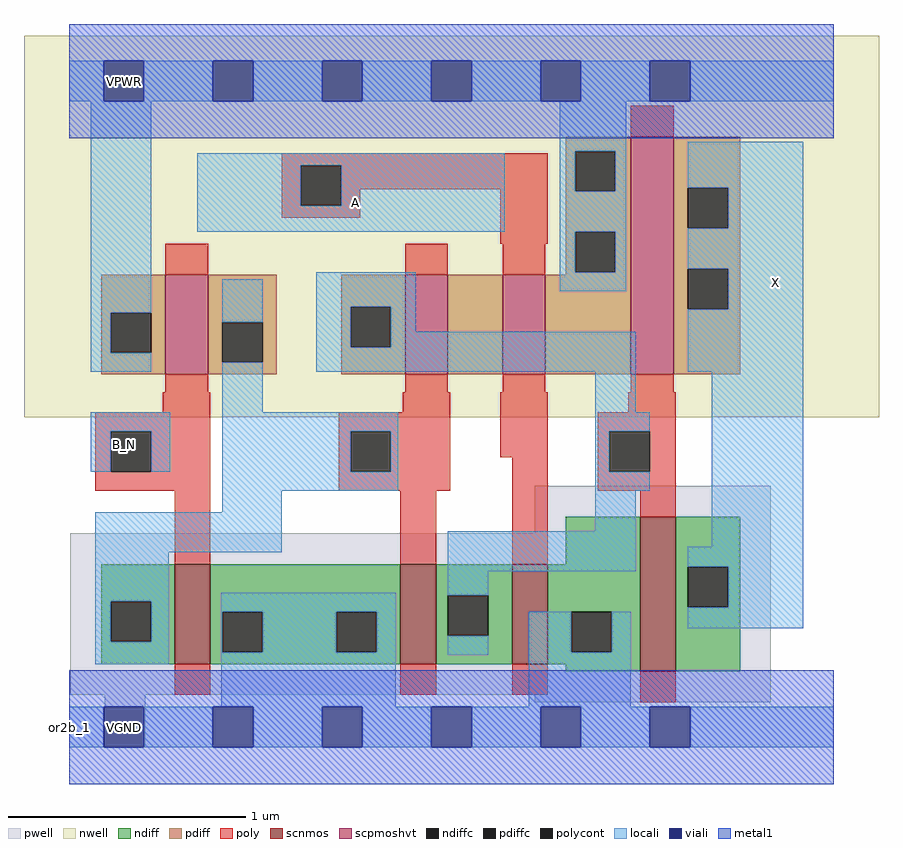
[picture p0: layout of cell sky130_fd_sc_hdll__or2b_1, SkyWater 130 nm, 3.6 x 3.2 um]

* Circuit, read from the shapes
.subckt sky130_fd_sc_hdll__or2b_1 A B_N VGND VNB VPB VPWR X
XM1 VGND B_N n1 VNB sky130_fd_pr__nfet_01v8 w=0.42 l=0.15
XM2 n2 n1 VGND VNB sky130_fd_pr__nfet_01v8 w=0.42 l=0.15
XM3 VGND A n2 VNB sky130_fd_pr__nfet_01v8 w=0.42 l=0.15
XM4 X n2 VGND VNB sky130_fd_pr__nfet_01v8 w=0.65 l=0.15
XM5 n1 B_N VPWR VPB sky130_fd_pr__pfet_01v8_hvt w=0.42 l=0.18
XM6 n3 n1 n2 VPB sky130_fd_pr__pfet_01v8_hvt w=0.42 l=0.18
XM7 VPWR A n3 VPB sky130_fd_pr__pfet_01v8_hvt w=0.42 l=0.18
XM8 X n2 VPWR VPB sky130_fd_pr__pfet_01v8_hvt w=1 l=0.18
.ends

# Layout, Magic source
magic
tech sky130A
magscale 1 2
<< nwell >>
rect -38 261 682 582
<< pwell >>
rect 392 163 591 203
rect 1 27 591 163
rect 30 -17 64 27
rect 392 21 591 27
<< scnmos >>
rect 89 53 119 137
rect 279 53 309 137
rect 373 53 403 137
rect 481 47 511 177
<< scpmoshvt >>
rect 81 297 117 381
rect 283 297 319 381
rect 365 297 401 381
rect 473 297 509 497
<< ndiff >>
rect 418 137 481 177
rect 27 106 89 137
rect 27 72 35 106
rect 69 72 89 106
rect 27 53 89 72
rect 119 97 279 137
rect 119 63 129 97
rect 163 63 225 97
rect 259 63 279 97
rect 119 53 279 63
rect 309 111 373 137
rect 309 77 319 111
rect 353 77 373 111
rect 309 53 373 77
rect 403 97 481 137
rect 403 63 423 97
rect 457 63 481 97
rect 403 53 481 63
rect 418 47 481 53
rect 511 135 565 177
rect 511 101 521 135
rect 555 101 565 135
rect 511 47 565 101
<< pdiff >>
rect 418 485 473 497
rect 418 451 426 485
rect 460 451 473 485
rect 418 417 473 451
rect 418 383 426 417
rect 460 383 473 417
rect 418 381 473 383
rect 27 349 81 381
rect 27 315 35 349
rect 69 315 81 349
rect 27 297 81 315
rect 117 341 175 381
rect 117 307 129 341
rect 163 307 175 341
rect 117 297 175 307
rect 229 354 283 381
rect 229 320 237 354
rect 271 320 283 354
rect 229 297 283 320
rect 319 297 365 381
rect 401 297 473 381
rect 509 454 565 497
rect 509 420 521 454
rect 555 420 565 454
rect 509 386 565 420
rect 509 352 521 386
rect 555 352 565 386
rect 509 297 565 352
<< ndiffc >>
rect 35 72 69 106
rect 129 63 163 97
rect 225 63 259 97
rect 319 77 353 111
rect 423 63 457 97
rect 521 101 555 135
<< pdiffc >>
rect 426 451 460 485
rect 426 383 460 417
rect 35 315 69 349
rect 129 307 163 341
rect 237 320 271 354
rect 521 420 555 454
rect 521 352 555 386
<< poly >>
rect 473 497 509 523
rect 179 473 403 483
rect 179 439 195 473
rect 229 453 403 473
rect 229 439 245 453
rect 179 429 245 439
rect 363 407 403 453
rect 81 381 117 407
rect 283 381 319 407
rect 365 381 401 407
rect 81 282 117 297
rect 283 282 319 297
rect 365 282 401 297
rect 473 282 509 297
rect 79 265 119 282
rect 281 265 321 282
rect 22 249 119 265
rect 22 215 35 249
rect 69 215 119 249
rect 22 199 119 215
rect 227 249 321 265
rect 227 215 237 249
rect 271 215 321 249
rect 363 227 403 282
rect 471 265 511 282
rect 227 199 321 215
rect 89 137 119 199
rect 279 137 309 199
rect 373 137 403 227
rect 445 249 511 265
rect 445 215 455 249
rect 489 215 511 249
rect 445 199 511 215
rect 481 177 511 199
rect 89 27 119 53
rect 279 27 309 53
rect 373 27 403 53
rect 481 21 511 47
<< polycont >>
rect 195 439 229 473
rect 35 215 69 249
rect 237 215 271 249
rect 455 215 489 249
<< locali >>
rect 0 527 29 561
rect 63 527 121 561
rect 155 527 213 561
rect 247 527 305 561
rect 339 527 397 561
rect 431 527 489 561
rect 523 527 644 561
rect 18 349 69 527
rect 413 485 469 527
rect 108 473 367 483
rect 108 439 195 473
rect 229 439 367 473
rect 108 417 367 439
rect 413 451 426 485
rect 460 451 469 485
rect 413 417 469 451
rect 413 383 426 417
rect 460 383 469 417
rect 18 315 35 349
rect 18 299 69 315
rect 129 341 163 377
rect 129 265 163 307
rect 208 354 292 383
rect 413 367 469 383
rect 521 454 618 493
rect 555 420 618 454
rect 521 386 618 420
rect 208 320 237 354
rect 271 333 292 354
rect 555 352 618 386
rect 271 320 477 333
rect 208 299 477 320
rect 521 299 618 352
rect 443 265 477 299
rect 18 249 85 265
rect 18 215 35 249
rect 69 215 85 249
rect 129 249 277 265
rect 129 215 237 249
rect 271 215 277 249
rect 129 199 277 215
rect 443 249 489 265
rect 443 215 455 249
rect 443 199 489 215
rect 129 181 179 199
rect 22 147 179 181
rect 443 165 477 199
rect 22 106 84 147
rect 319 131 477 165
rect 541 152 618 299
rect 521 135 618 152
rect 22 72 35 106
rect 69 72 84 106
rect 22 53 84 72
rect 128 97 275 113
rect 128 63 129 97
rect 163 63 225 97
rect 259 63 275 97
rect 128 17 275 63
rect 319 111 353 131
rect 555 101 618 135
rect 319 61 353 77
rect 387 63 423 97
rect 457 63 473 97
rect 521 83 618 101
rect 387 17 473 63
rect 0 -17 29 17
rect 63 -17 121 17
rect 155 -17 213 17
rect 247 -17 305 17
rect 339 -17 397 17
rect 431 -17 489 17
rect 523 -17 644 17
<< viali >>
rect 29 527 63 561
rect 121 527 155 561
rect 213 527 247 561
rect 305 527 339 561
rect 397 527 431 561
rect 489 527 523 561
rect 29 -17 63 17
rect 121 -17 155 17
rect 213 -17 247 17
rect 305 -17 339 17
rect 397 -17 431 17
rect 489 -17 523 17
<< metal1 >>
rect 0 561 644 592
rect 0 527 29 561
rect 63 527 121 561
rect 155 527 213 561
rect 247 527 305 561
rect 339 527 397 561
rect 431 527 489 561
rect 523 527 644 561
rect 0 496 644 527
rect 0 17 644 48
rect 0 -17 29 17
rect 63 -17 121 17
rect 155 -17 213 17
rect 247 -17 305 17
rect 339 -17 397 17
rect 431 -17 489 17
rect 523 -17 644 17
rect 0 -48 644 -17
<< labels >>
flabel locali s 224 425 258 459 0 FreeSans 400 0 0 0 A
port 1 nsew signal input
flabel locali s 30 221 64 255 0 FreeSans 400 0 0 0 B_N
port 2 nsew signal input
flabel locali s 578 357 612 391 0 FreeSans 400 0 0 0 X
port 7 nsew signal output
flabel metal1 s 30 -17 64 17 0 FreeSans 200 0 0 0 VGND
port 3 nsew ground bidirectional
flabel metal1 s 30 527 64 561 0 FreeSans 200 0 0 0 VPWR
port 6 nsew power bidirectional
flabel pwell s 30 -17 64 17 0 FreeSans 200 0 0 0 VNB
port 4 nsew ground bidirectional
flabel nwell s 30 527 64 561 0 FreeSans 200 0 0 0 VPB
port 5 nsew power bidirectional
rlabel comment s 0 0 0 0 4 or2b_1
<< properties >>
string LEFsite unithd
string LEFclass CORE
string FIXED_BBOX 0 0 644 544
string GDS_FILE $PDKPATH/libs.ref/sky130_fd_sc_hdll/gds/sky130_fd_sc_hdll.gds
string LEFsymmetry X Y R90
string GDS_END 1295618
string GDS_START 1290522
string LEFproperties maskLayoutSubType "abstract" prCellType "standard" originalViewName "layout"
<< end >>
